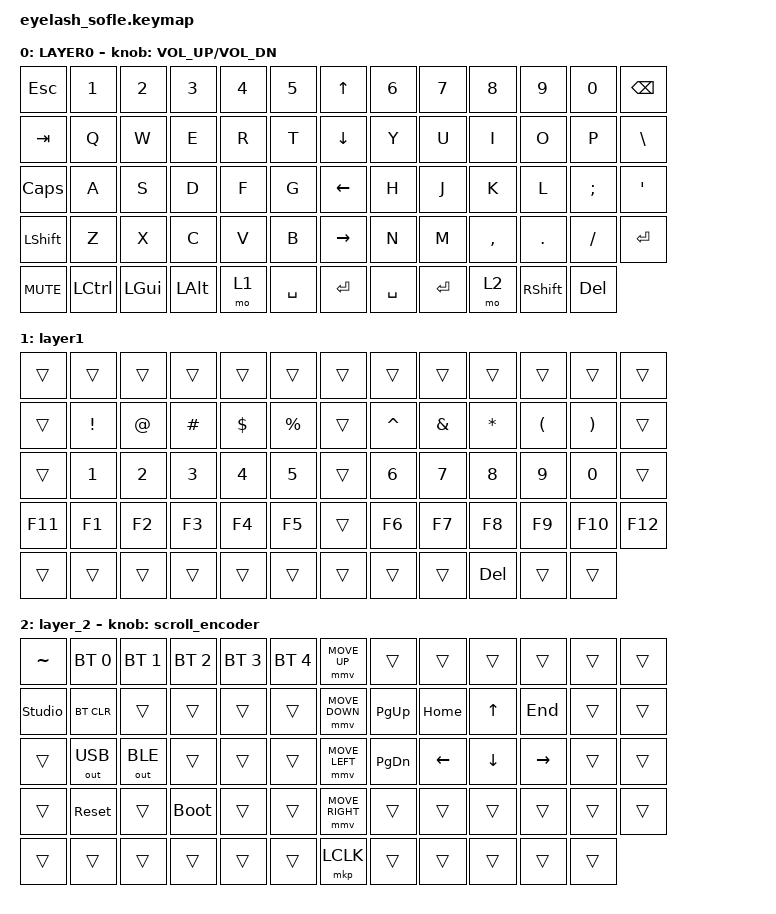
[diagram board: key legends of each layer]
#include <behaviors.dtsi>
#include <dt-bindings/zmk/bt.h>
#include <dt-bindings/zmk/keys.h>
#include <dt-bindings/zmk/mouse.h>
#include <dt-bindings/zmk/outputs.h>
#include <dt-bindings/zmk/rgb.h>

#include <input/processors.dtsi>

/*

   &mmv_input_listener {
       input-processors = <&zip_xy_scaler 2 1>;
   };

   &msc_input_listener {
       input-processors = <&zip_xy_scaler 2 1>;
   };

 */

#define ZMK_MOUSE_DEFAULT_MOVE_VAL 1200  // 600
#define ZMK_MOUSE_DEFAULT_SCRL_VAL 20    // 10


/ {
    behaviors {
        mmv {
            acceleration-exponent = <1>;      // 1
            time-to-max-speed-ms = <900>;    // 40
            delay-ms = <0>;                   // 0
        };

        msc {
            acceleration-exponent = <1>;      // 0
            time-to-max-speed-ms = <400>;      // 500
            delay-ms = <0>;                   //   10
        };
    };

    scroll_encoder: scroll_encoder {
        compatible = "zmk,behavior-sensor-rotate";
        #sensor-binding-cells = <0>;
        bindings = <&msc SCRL_DOWN>, <&msc SCRL_UP>;

        tap-ms = <30>;
    };

    keymap {
        compatible = "zmk,keymap";

        layer0 {
            bindings = <
&kp ESC     &kp N1     &kp N2        &kp N3        &kp N4  &kp N5       &kp UP_ARROW     &kp N6     &kp N7     &kp N8     &kp N9           &kp N0      &kp BACKSPACE
&kp TAB     &kp Q      &kp W         &kp E         &kp R   &kp T        &kp DOWN_ARROW   &kp Y      &kp U      &kp I      &kp O            &kp P       &kp BSLH
&kp CAPS    &kp A      &kp S         &kp D         &kp F   &kp G        &kp LEFT_ARROW   &kp H      &kp J      &kp K      &kp L            &kp SEMI    &kp APOS
&kp LSHFT   &kp Z      &kp X         &kp C         &kp V   &kp B        &kp RIGHT_ARROW  &kp N      &kp M      &kp COMMA  &kp DOT          &kp FSLH    &kp ENTER
&kp C_MUTE  &kp LCTRL  &kp LEFT_GUI  &kp LEFT_ALT  &mo 1   &kp SPACE    &kp ENTER        &kp SPACE  &kp ENTER  &mo 2      &kp RIGHT_SHIFT  &kp DELETE
            >;

            sensor-bindings = <&inc_dec_kp C_VOLUME_UP C_VOL_DN>;
            display-name = "LAYER0";
        };

        layer_1 {
            bindings = <
&trans      &trans           &trans          &trans           &trans           &trans             &trans           &trans           &trans           &trans      &trans     &trans           &trans
&trans      &kp EXCL         &kp AT          &kp HASH         &kp DOLLAR       &kp PERCENT        &trans           &kp CARET        &kp AMPERSAND    &kp ASTERISK  &kp LPAR  &kp RPAR         &trans
&trans      &kp N1           &kp N2          &kp N3           &kp N4           &kp N5             &trans           &kp N6           &kp N7           &kp N8      &kp N9     &kp N0           &trans
&kp F11     &kp F1           &kp F2          &kp F3           &kp F4           &kp F5             &trans           &kp F6           &kp F7           &kp F8      &kp F9     &kp F10          &kp F12
&trans      &trans           &trans          &trans           &trans           &trans             &trans           &trans           &trans           &kp DEL    &trans     &trans
            >;

            display-name = "layer1";
        };

        layer_2 {
            bindings = <
&kp TILDE       &bt BT_SEL 0  &bt BT_SEL 1  &bt BT_SEL 2  &bt BT_SEL 3  &bt BT_SEL 4  &mmv MOVE_UP     &trans     &trans    &trans     &trans     &trans     &trans
&studio_unlock  &bt BT_CLR    &trans        &trans        &trans        &trans        &mmv MOVE_DOWN   &kp PG_UP  &kp HOME  &kp UP     &kp END    &trans     &trans
&trans          &out OUT_USB  &out OUT_BLE  &trans        &trans        &trans        &mmv MOVE_LEFT   &kp PG_DN  &kp LEFT  &kp DOWN   &kp RIGHT  &trans     &trans
&trans          &sys_reset    &trans        &bootloader   &trans        &trans        &mmv MOVE_RIGHT  &trans     &trans    &trans     &trans     &trans     &trans
&trans          &trans        &trans        &trans        &trans        &trans        &mkp LCLK        &trans     &trans    &trans     &trans     &trans
            >;

            sensor-bindings = <&scroll_encoder>;
        };
    };
};
